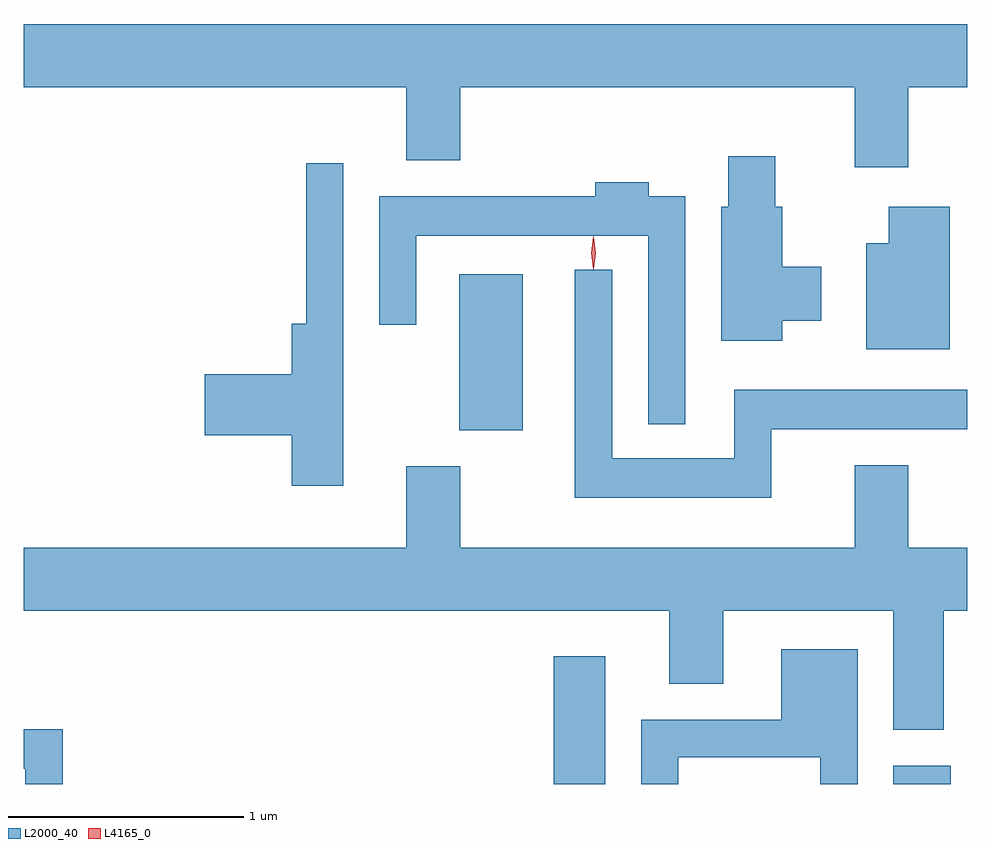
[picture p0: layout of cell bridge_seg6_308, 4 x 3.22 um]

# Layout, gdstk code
import gdstk
lib = gdstk.Library(unit=1e-6, precision=1e-09)
def R(c, l, rs):  # rectangles x0, y0, x1, y1
    for r in rs: c.add(gdstk.rectangle(r[:2], r[2:], *l))
def P(c, l, *ps):  # polygons
    for p in ps: c.add(gdstk.Polygon(p, *l))
L2000_40 = (2000, 40)
L4165_0 = (4165, 0)

bridge_seg6_308 = lib.new_cell('bridge_seg6_308')
R(bridge_seg6_308, L2000_40, [(1326.776,1535.982,1326.994,1536.524), (1328.216,1535.982,1328.459,1536.059), (1326.376,1537.481,1326.644,1538.144)])
P(bridge_seg6_308, L2000_40, [(1328.279,1538.936),(1328.529,1538.936),(1328.529,1539.204),(1324.529,1539.204),(1324.529,1538.936),(1326.151,1538.936),(1326.151,1538.626),(1326.379,1538.626),(1326.379,1538.936),(1328.051,1538.936),(1328.051,1538.596),(1328.279,1538.596)],
  [(1327.744,1537.946),(1327.909,1537.946),(1327.909,1538.174),(1327.744,1538.174),(1327.744,1538.429),(1327.714,1538.429),(1327.714,1538.644),(1327.516,1538.644),(1327.516,1538.429),(1327.486,1538.429),(1327.486,1537.861),(1327.744,1537.861)],
  [(1325.884,1538.613),(1325.726,1538.613),(1325.726,1537.934),(1325.666,1537.934),(1325.666,1537.719),(1325.296,1537.719),(1325.296,1537.461),(1325.666,1537.461),(1325.666,1537.246),(1325.884,1537.246)],
  [(1327.334,1538.474),(1327.179,1538.474),(1327.179,1538.534),(1326.951,1538.534),(1326.951,1538.474),(1326.036,1538.474),(1326.036,1537.928),(1326.194,1537.928),(1326.194,1538.306),(1327.176,1538.306),(1327.176,1537.508),(1327.334,1537.508)],
  [(1328.454,1538.429),(1328.196,1538.429),(1328.196,1538.274),(1328.101,1538.274),(1328.101,1537.826),(1328.454,1537.826)],
  [(1327.699,1537.486),(1328.529,1537.486),(1328.529,1537.654),(1327.541,1537.654),(1327.541,1537.364),(1327.024,1537.364),(1327.024,1538.163),(1326.866,1538.163),(1326.866,1537.196),(1327.699,1537.196)],
  [(1328.429,1536.716),(1328.529,1536.716),(1328.529,1536.984),(1328.279,1536.984),(1328.279,1537.334),(1328.051,1537.334),(1328.051,1536.984),(1326.379,1536.984),(1326.379,1537.329),(1326.151,1537.329),(1326.151,1536.984),(1324.529,1536.984),(1324.529,1536.716),(1327.266,1536.716),(1327.266,1536.406),(1327.494,1536.406),(1327.494,1536.716),(1328.216,1536.716),(1328.216,1536.211),(1328.429,1536.211)],
  [(1327.304,1536.096),(1327.906,1536.096),(1327.906,1535.982),(1328.064,1535.982),(1328.064,1536.554),(1327.741,1536.554),(1327.741,1536.254),(1327.146,1536.254),(1327.146,1535.982),(1327.304,1535.982)],
  [(1324.694,1536.214),(1324.529,1536.214),(1324.529,1536.046),(1324.536,1536.046),(1324.536,1535.982),(1324.694,1535.982)])
P(bridge_seg6_308, L4165_0, [(1326.944,1538.164),(1326.935,1538.233),(1326.944,1538.302),(1326.945,1538.303),(1326.946,1538.302),(1326.955,1538.233),(1326.946,1538.164),(1326.945,1538.164)])

lib.write_gds('bridge_seg6_308.gds')
